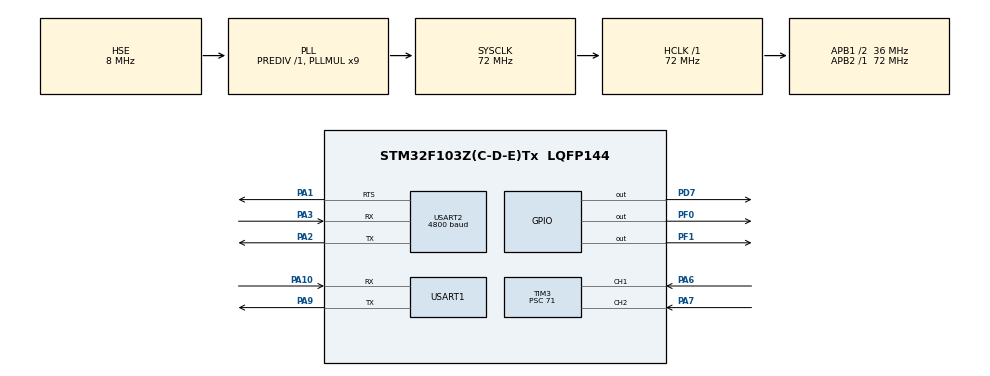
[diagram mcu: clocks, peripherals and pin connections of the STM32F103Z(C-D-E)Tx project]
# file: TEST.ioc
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Mcu.Family=STM32F1
Mcu.Name=STM32F103Z(C-D-E)Tx
Mcu.Package=LQFP144
NVIC.PriorityGroup=NVIC_PRIORITYGROUP_4
NVIC.RCC_IRQn=true\:0\:0\:false\:false\:true\:true\:false
NVIC.TIM3_IRQn=true\:0\:0\:false\:false\:true\:true\:true
NVIC.USART2_IRQn=true\:0\:0\:false\:false\:true\:true\:true
OSC_IN.Mode=HSE-External-Oscillator
OSC_IN.Signal=RCC_OSC_IN
OSC_OUT.Mode=HSE-External-Oscillator
OSC_OUT.Signal=RCC_OSC_OUT
PA1.Mode=RTS_Only
PA1.Signal=USART2_RTS
PA10.Mode=Asynchronous
PA10.Signal=USART1_RX
PA13.Mode=Serial_Wire
PA13.Signal=SYS_JTMS-SWDIO
PA14.Mode=Serial_Wire
PA14.Signal=SYS_JTCK-SWCLK
PA2.Mode=Asynchronous
PA2.Signal=USART2_TX
PA3.Mode=Asynchronous
PA3.Signal=USART2_RX
PA6.GPIO_PuPd=GPIO_NOPULL
PA6.Signal=S_TIM3_CH1
PA7.Signal=S_TIM3_CH2
PA9.Mode=Asynchronous
PA9.Signal=USART1_TX
PD7.Signal=GPIO_Output
PF0.Signal=GPIO_Output
PF1.Signal=GPIO_Output
ProjectManager.HeapSize=0x200
ProjectManager.StackSize=0x400
ProjectManager.TargetToolchain=MDK-ARM V5.27
RCC.AHBFreq_Value=72000000
RCC.APB1CLKDivider=RCC_HCLK_DIV2
RCC.APB1Freq_Value=36000000
RCC.APB1TimFreq_Value=72000000
RCC.APB2Freq_Value=72000000
RCC.APB2TimFreq_Value=72000000
RCC.HCLKFreq_Value=72000000
RCC.PLLMUL=RCC_PLL_MUL9
RCC.PLLSourceVirtual=RCC_PLLSOURCE_HSE
RCC.SYSCLKFreq_VALUE=72000000
RCC.SYSCLKSource=RCC_SYSCLKSOURCE_PLLCLK
RCC.USBFreq_Value=72000000
SH.S_TIM3_CH1.0=TIM3_CH1,Input_Capture1_from_TI1
SH.S_TIM3_CH2.0=TIM3_CH2,Input_Capture2_from_TI2
TIM3.Channel-Input_Capture1_from_TI1=TIM_CHANNEL_1
TIM3.Channel-Input_Capture2_from_TI2=TIM_CHANNEL_2
TIM3.ICFilter_CH1=8
TIM3.Prescaler=71
USART1.VirtualMode=VM_ASYNC
USART2.BaudRate=4800
USART2.VirtualMode=VM_ASYNC
VP_TIM3_VS_ClockSourceINT.Mode=Internal
board=custom

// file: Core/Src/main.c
/* USER CODE BEGIN Header */
/**
  ******************************************************************************
  * @file           : main.c
  * @brief          : Main program body
  ******************************************************************************
  * @attention
  *
  * <h2><center>&copy; Copyright (c) 2021 STMicroelectronics.
  * All rights reserved.</center></h2>
  *
  * This software component is licensed by ST under BSD 3-Clause license,
  * the "License"; You may not use this file except in compliance with the
  * License. You may obtain a copy of the License at:
  *                        opensource.org/licenses/BSD-3-Clause
  *
  ******************************************************************************
  */
/* USER CODE END Header */
#include "main.h"

/* USER CODE BEGIN Includes */
#include "stdio.h"
#include "stdint.h"
#include "stdlib.h"
#include "printfun.h"
#include "delay.h"
#include "sys.h"

/* USER CODE END Includes */

/* USER CODE BEGIN PTD */
// uint16_t a = 0x12;
/* USER CODE END PTD */

TIM_HandleTypeDef htim3;

UART_HandleTypeDef huart1;
UART_HandleTypeDef huart2;

/* USER CODE BEGIN PV */
#define KEY0        HAL_GPIO_ReadPin(GPIOE,GPIO_PIN_4)
// uint8_t aTxBuffer[8];      //"*********串口发送数据××××××××××××\r\n";
uint8_t rs485buf[8] ={0X01,0X03,0X00,0X03,0X00,0X01,0X74,0X0A};
uint8_t rs485buf3[8] ={0X01,0X03,0X00,0X06,0X00,0X01,0X64,0X0B};
uint8_t rs485buf2[8] ={0X01,0X03,0X00,0X00,0X00,0X02,0XC4,0X0B};
uint8_t rs1[7];		// 用来接收串口2发送的数据
uint8_t rs2[9];		// 用来接收串口2发送的数据
uint16_t speed1;
uint16_t wind_direction;
uint16_t infrarot;
uint8_t j;
uint8_t data1[10];
uint8_t selet1 = 2;
uint8_t selet2 = 0;
long long temp=0;
long long temp1=0;
//捕获状态
//[7]:0,没有成功的捕获;1,成功捕获到一次.
//[6]:0,还没捕获到低电平;1,已经捕获到低电平了.
//[5:0]:捕获低电平后溢出的次数
uint8_t  TIM5CH1_CAPTURE_STA=0;							//输入捕获状态
uint16_t	TIM5CH1_CAPTURE_VAL;							//输入捕获值(TIM3是16位)
/* USER CODE END PV */

void SystemClock_Config(void);
static void MX_GPIO_Init(void);
static void MX_USART2_UART_Init(void);
static void MX_USART1_UART_Init(void);
static void MX_TIM3_Init(void);
/* USER CODE BEGIN PFP */
// int fputc(int ch,FILE *f)
// {
//   //  HAL_UART_Transmit(&huart1,(uint8_t *)&ch,1,0xFFFF);
//    HAL_UART_Transmit(&huart1,(uint8_t *)&ch,1,0xFFFF);
//    return ch;
// }

/* USER CODE END PFP */

/* USER CODE BEGIN 0 */
void HAL_Delay(uint32_t Delay){
  delay_ms((uint16_t)Delay);
}
/* USER CODE END 0 */

int main(void)
{

  /* MCU Configuration--------------------------------------------------------*/

  /* Reset of all peripherals, Initializes the Flash interface and the Systick. */
  HAL_Init();

  /* Configure the system clock */
  SystemClock_Config();

  /* USER CODE BEGIN SysInit */
  delay_init();
  /* USER CODE END SysInit */

  /* Initialize all configured peripherals */
  MX_GPIO_Init();
  MX_USART2_UART_Init();
  MX_USART1_UART_Init();
  MX_TIM3_Init();
  /* USER CODE BEGIN 2 */
  HAL_UART_Receive_IT(&huart2,(uint8_t *)&rs1,7);
  // HAL_TIM_Base_Start_IT(&htim3);
  HAL_TIM_IC_Start_IT(&htim3,TIM_CHANNEL_1);   //开启TIM3的捕获通道1，并且开启捕获中断
  // HAL_TIM_IC_Start_IT(&htim3,TIM_CHANNEL_2);   //开启TIM3的捕获通道1，并且开启捕获中断
  __HAL_TIM_ENABLE_IT(&htim3,TIM_IT_UPDATE);   //使能更新中断

  /* USER CODE END 2 */

  /* Infinite loop */
  /* USER CODE BEGIN WHILE */
  // HAL_UART_Receive_IT(&huart2,aRxBuffer2,1);			// Enable the USART2 Interrupt
	// HAL_UART_Transmit(&huart2,aTxBuffer,sizeof(aTxBuffer),100);
  while (1)
  {

    switch (selet2)
    {

  case 0:

   HAL_Delay(300);
    HAL_GPIO_WritePin(GPIOF, GPIO_PIN_0, GPIO_PIN_SET);

    delay_us(10);
    HAL_GPIO_WritePin(GPIOF, GPIO_PIN_0, GPIO_PIN_RESET);

    if(TIM5CH1_CAPTURE_STA&0X80)        //成功捕获到了一次高电平
		{
			temp=TIM5CH1_CAPTURE_STA&0X3F;
			temp*=65536;		 	    	//溢出时间总和
			temp+=TIM5CH1_CAPTURE_VAL;
      temp= (temp*340);
      temp = temp /2;   //得到总的高电平时间
      temp = temp /1000000;   //得到总的高电平时间

			printf("距离为:%lld 米\r\n",temp);//打印总的高点平时间
			TIM5CH1_CAPTURE_STA=0;          //开启下一次捕获
		}
    selet2++;
   HAL_TIM_IC_Stop_IT(&htim3,TIM_CHANNEL_1);
  HAL_TIM_IC_Start_IT(&htim3,TIM_CHANNEL_2);   //开启TIM3的捕获通道1，并且开启捕获中断

      break;
  case 1:

    HAL_GPIO_WritePin(GPIOF, GPIO_PIN_1, GPIO_PIN_SET);

    delay_us(10);
    HAL_GPIO_WritePin(GPIOF, GPIO_PIN_1, GPIO_PIN_RESET);

    if(TIM5CH1_CAPTURE_STA&0X80)        //成功捕获到了一次高电平
		{
			temp=TIM5CH1_CAPTURE_STA&0X3F;
			temp*=65536;		 	    	//溢出时间总和
			temp+=TIM5CH1_CAPTURE_VAL;
      temp= (temp*340);
      temp = temp /2;   //得到总的高电平时间
      // temp1 = temp1 /1000000;   //得到总的高电平时间

			printf("传感器2距离为:%lld 米\r\n",temp);//打印总的高点平时间
			TIM5CH1_CAPTURE_STA=0;          //开启下一次捕获
		}
    selet2 = 0;
   HAL_TIM_IC_Stop_IT(&htim3,TIM_CHANNEL_2);
    HAL_TIM_IC_Start_IT(&htim3,TIM_CHANNEL_1);   //开启TIM3的捕获通道1，并且开启捕获中断

      break;

    default:
      break;
    }

    switch (selet1)
    {
    case 0/* constant-expression */:
      /* code */
    HAL_GPIO_WritePin(GPIOD, GPIO_PIN_7, GPIO_PIN_SET);
    // uint8_t i;
    HAL_Delay(1000);
    HAL_UART_Transmit(&huart2, (uint8_t*)&rs485buf, sizeof(rs485buf), 5000);

     HAL_GPIO_WritePin(GPIOD, GPIO_PIN_7, GPIO_PIN_RESET);

    HAL_Delay(100);
    println("当前风力等级为：%d级\t\n",data1[4]);

    // speed =   (int32_t)rs1[4];
    // printf("%02x\t\n",rs1[4]);
    // printf("%02x\t\n",rs1[3]);

      // printf("%02x\t\n",data1[0]);
			// printf("%02x\t\n",data1[1]);
			// printf("%02x\t\n",data1[2]);
			// printf("%02x\t\n",data1[3]);
			// printf("%02x\t\n",data1[4]);
			// printf("%02x\t\n",data1[5]);
			// println("%02x\t\n",data1[6]);
      selet1 = 0;
      break;
    case 1/* constant-expression */:
      /* code */
      HAL_GPIO_WritePin(GPIOD, GPIO_PIN_7, GPIO_PIN_SET);
    HAL_Delay(1000);
    HAL_UART_Transmit(&huart2, (uint8_t*)&rs485buf2, sizeof(rs485buf2), 5000);

     HAL_GPIO_WritePin(GPIOD, GPIO_PIN_7, GPIO_PIN_RESET);

    HAL_Delay(100);
    speed1 = data1[3]<<8;
    speed1 += data1[4];
    // speed =   (int32_t)rs1[4];
    println("当前风速为: %d.%d m/s",(speed1/100),(speed1%100));
    wind_direction = (wind_direction|data1[5])<<8;
    wind_direction = (wind_direction|data1[6]);
    // wind_direction = (wind_direction);
    if((0 < wind_direction&& wind_direction < 45 ) || (315 < wind_direction&& wind_direction < 359 ) )
    {
    println("当前风向为北风");

    }else if(45 < wind_direction < 135 )
    {
     println("当前风向为东风");

    }else if(135 < wind_direction < 225 )
    {
     println("当前风向为南风");

    }
    else if(225 < wind_direction < 315 )
    {
     println("当前风向为西风");

    }

    // speed =   (int32_t)rs1[4];
    // printf("%02x\t\n",rs1[4]);
    // printf("%02x\t\n",rs1[3]);

      // printf("%02x\t\n",data1[0]);
			// printf("%02x\t\n",data1[1]);
			// printf("%02x\t\n",data1[2]);
			// printf("%02x\t\n",data1[3]);
			// printf("%02x\t\n",data1[4]);
			// printf("%02x\t\n",data1[5]);
			// println("%02x\t\n",data1[6]);
    selet1++;
    break;

    case 2 :
    {
    HAL_GPIO_WritePin(GPIOD, GPIO_PIN_7, GPIO_PIN_SET);
    // uint8_t i;
    HAL_Delay(1000);
    HAL_UART_Transmit(&huart2, (uint8_t*)&rs485buf3, sizeof(rs485buf3), 5000);

     HAL_GPIO_WritePin(GPIOD, GPIO_PIN_7, GPIO_PIN_RESET);

    HAL_Delay(100);

    infrarot = (infrarot|data1[3])<<8;
    infrarot = (infrarot|data1[4]);

   println("当前隧道外亮度为: %d Lux",infrarot);
   infrarot = 0;

  //  println("当前隧道外亮度为: %d.%d Lux",infrarot,(infrarot%10));

    }
      selet1  = 0;
      break;

    default:
      break;
    }

    // HAL_Delay(10);
    // HAL_UART_Transmit(&huart2, (uint8_t*)&rs485buf2, sizeof(rs485buf), 5000);

    // for(i =0;i<7;i++)
    // {
    //   printf("0x%02x\t",rs1[i]);
    // }
    // printf("\r\n");
    /* USER CODE END WHILE */

  }
}

void SystemClock_Config(void)
{
  RCC_OscInitTypeDef RCC_OscInitStruct = {0};
  RCC_ClkInitTypeDef RCC_ClkInitStruct = {0};

  /** Initializes the RCC Oscillators according to the specified parameters
  * in the RCC_OscInitTypeDef structure.
  */
  RCC_OscInitStruct.OscillatorType = RCC_OSCILLATORTYPE_HSE;
  RCC_OscInitStruct.HSEState = RCC_HSE_ON;
  RCC_OscInitStruct.HSEPredivValue = RCC_HSE_PREDIV_DIV1;
  RCC_OscInitStruct.HSIState = RCC_HSI_ON;
  RCC_OscInitStruct.PLL.PLLState = RCC_PLL_ON;
  RCC_OscInitStruct.PLL.PLLSource = RCC_PLLSOURCE_HSE;
  RCC_OscInitStruct.PLL.PLLMUL = RCC_PLL_MUL9;
  if (HAL_RCC_OscConfig(&RCC_OscInitStruct) != HAL_OK)
  {
    Error_Handler();
  }
  /** Initializes the CPU, AHB and APB buses clocks
  */
  RCC_ClkInitStruct.ClockType = RCC_CLOCKTYPE_HCLK|RCC_CLOCKTYPE_SYSCLK
                              |RCC_CLOCKTYPE_PCLK1|RCC_CLOCKTYPE_PCLK2;
  RCC_ClkInitStruct.SYSCLKSource = RCC_SYSCLKSOURCE_PLLCLK;
  RCC_ClkInitStruct.AHBCLKDivider = RCC_SYSCLK_DIV1;
  RCC_ClkInitStruct.APB1CLKDivider = RCC_HCLK_DIV2;
  RCC_ClkInitStruct.APB2CLKDivider = RCC_HCLK_DIV1;

  if (HAL_RCC_ClockConfig(&RCC_ClkInitStruct, FLASH_LATENCY_2) != HAL_OK)
  {
    Error_Handler();
  }
}

static void MX_TIM3_Init(void)
{

  TIM_ClockConfigTypeDef sClockSourceConfig = {0};
  TIM_MasterConfigTypeDef sMasterConfig = {0};
  TIM_IC_InitTypeDef sConfigIC = {0};

  htim3.Instance = TIM3;
  htim3.Init.Prescaler = 71;
  htim3.Init.CounterMode = TIM_COUNTERMODE_UP;
  htim3.Init.Period = 65535;
  htim3.Init.ClockDivision = TIM_CLOCKDIVISION_DIV1;
  htim3.Init.AutoReloadPreload = TIM_AUTORELOAD_PRELOAD_DISABLE;
  if (HAL_TIM_Base_Init(&htim3) != HAL_OK)
  {
    Error_Handler();
  }
  sClockSourceConfig.ClockSource = TIM_CLOCKSOURCE_INTERNAL;
  if (HAL_TIM_ConfigClockSource(&htim3, &sClockSourceConfig) != HAL_OK)
  {
    Error_Handler();
  }
  if (HAL_TIM_IC_Init(&htim3) != HAL_OK)
  {
    Error_Handler();
  }
  sMasterConfig.MasterOutputTrigger = TIM_TRGO_RESET;
  sMasterConfig.MasterSlaveMode = TIM_MASTERSLAVEMODE_DISABLE;
  if (HAL_TIMEx_MasterConfigSynchronization(&htim3, &sMasterConfig) != HAL_OK)
  {
    Error_Handler();
  }
  sConfigIC.ICPolarity = TIM_INPUTCHANNELPOLARITY_RISING;
  sConfigIC.ICSelection = TIM_ICSELECTION_DIRECTTI;
  sConfigIC.ICPrescaler = TIM_ICPSC_DIV1;
  sConfigIC.ICFilter = 8;
  if (HAL_TIM_IC_ConfigChannel(&htim3, &sConfigIC, TIM_CHANNEL_1) != HAL_OK)
  {
    Error_Handler();
  }
  sConfigIC.ICFilter = 0;
  if (HAL_TIM_IC_ConfigChannel(&htim3, &sConfigIC, TIM_CHANNEL_2) != HAL_OK)
  {
    Error_Handler();
  }

}

static void MX_USART1_UART_Init(void)
{

  huart1.Instance = USART1;
  huart1.Init.BaudRate = 115200;
  huart1.Init.WordLength = UART_WORDLENGTH_8B;
  huart1.Init.StopBits = UART_STOPBITS_1;
  huart1.Init.Parity = UART_PARITY_NONE;
  huart1.Init.Mode = UART_MODE_TX_RX;
  huart1.Init.HwFlowCtl = UART_HWCONTROL_NONE;
  huart1.Init.OverSampling = UART_OVERSAMPLING_16;
  if (HAL_UART_Init(&huart1) != HAL_OK)
  {
    Error_Handler();
  }

}

static void MX_USART2_UART_Init(void)
{

  huart2.Instance = USART2;
  huart2.Init.BaudRate = 4800;
  huart2.Init.WordLength = UART_WORDLENGTH_8B;
  huart2.Init.StopBits = UART_STOPBITS_1;
  huart2.Init.Parity = UART_PARITY_NONE;
  huart2.Init.Mode = UART_MODE_TX_RX;
  huart2.Init.HwFlowCtl = UART_HWCONTROL_RTS;
  huart2.Init.OverSampling = UART_OVERSAMPLING_16;
  if (HAL_UART_Init(&huart2) != HAL_OK)
  {
    Error_Handler();
  }

}

static void MX_GPIO_Init(void)
{
  GPIO_InitTypeDef GPIO_InitStruct = {0};

  /* GPIO Ports Clock Enable */
  __HAL_RCC_GPIOF_CLK_ENABLE();
  __HAL_RCC_GPIOA_CLK_ENABLE();
  __HAL_RCC_GPIOD_CLK_ENABLE();

  /*Configure GPIO pin Output Level */
  HAL_GPIO_WritePin(GPIOF, GPIO_PIN_0|GPIO_PIN_1, GPIO_PIN_RESET);

  /*Configure GPIO pin Output Level */
  HAL_GPIO_WritePin(GPIOD, GPIO_PIN_7, GPIO_PIN_RESET);

  /*Configure GPIO pins : PF0 PF1 */
  GPIO_InitStruct.Pin = GPIO_PIN_0|GPIO_PIN_1;
  GPIO_InitStruct.Mode = GPIO_MODE_OUTPUT_PP;
  GPIO_InitStruct.Pull = GPIO_NOPULL;
  GPIO_InitStruct.Speed = GPIO_SPEED_FREQ_LOW;
  HAL_GPIO_Init(GPIOF, &GPIO_InitStruct);

  /*Configure GPIO pin : PD7 */
  GPIO_InitStruct.Pin = GPIO_PIN_7;
  GPIO_InitStruct.Mode = GPIO_MODE_OUTPUT_PP;
  GPIO_InitStruct.Pull = GPIO_NOPULL;
  GPIO_InitStruct.Speed = GPIO_SPEED_FREQ_LOW;
  HAL_GPIO_Init(GPIOD, &GPIO_InitStruct);

}

/* USER CODE BEGIN 4 */
/**
  * @brief  Rx Transfer completed callbacks.
  * @param  huart  Pointer to a UART_HandleTypeDef structure that contains
  *                the configuration information for the specified UART module.
  * @retval None
  */
void HAL_UART_RxCpltCallback(UART_HandleTypeDef *huart)
{
  /* Prevent unused argument(s) compilation warning */
  UNUSED(huart);
  /* NOTE: This function should not be modified, when the callback is needed,
           the HAL_UART_RxCpltCallback could be implemented in the user file
   */

  switch (selet1)
  {
  case  0/* constant-expression */:
    /* code */
    for(j = 0;j<7;j++)
  {
    data1[j]=rs1[j];
  }
    HAL_UART_Receive_IT(&huart2,(uint8_t *)&rs2,9);

    break;
  case  1/* constant-expression */:
   for(j = 0;j<9;j++)
  {
    data1[j]=rs2[j];
  }
    HAL_UART_Receive_IT(&huart2,(uint8_t *)&rs1,7);
    /* code */
    break;
  case 2/* constant-expression */:
    for(j = 0;j<7;j++)
  {
    data1[j]=rs1[j];
  }
    HAL_UART_Receive_IT(&huart2,(uint8_t *)&rs1,7);
    break;

  default:
    break;
  }

  // HAL_UART_Transmit(&huart1,rs1,7,1000);
  //   //HAL_UART_Transmit(&huart1, (uint8_t*)&aRxBuffer2, sizeof(aRxBuffer2), 1000);
	// 	while(__HAL_UART_GET_FLAG(&huart1,UART_FLAG_TC)!=SET);		//等待发送结束

}
//定时器更新中断（计数溢出）中断处理回调函数， 该函数在HAL_TIM_IRQHandler中会被调用
void HAL_TIM_PeriodElapsedCallback(TIM_HandleTypeDef *htim)//更新中断（溢出）发生时执行
{
	if((TIM5CH1_CAPTURE_STA&0X80)==0)				//还未成功捕获
	{
		if(TIM5CH1_CAPTURE_STA&0X40)				//已经捕获到高电平了
		{
			if((TIM5CH1_CAPTURE_STA&0X3F)==0X3F)	//高电平太长了
			{
				TIM5CH1_CAPTURE_STA|=0X80;			//标记成功捕获了一次
				TIM5CH1_CAPTURE_VAL=0XFFFF;
			}else TIM5CH1_CAPTURE_STA++;
		}
	}

}

//定时器输入捕获中断处理回调函数，该函数在HAL_TIM_IRQHandler中会被调用
void HAL_TIM_IC_CaptureCallback(TIM_HandleTypeDef *htim)//捕获中断发生时执行
{
	if((TIM5CH1_CAPTURE_STA&0X80)==0)				//还未成功捕获
	{
		if(TIM5CH1_CAPTURE_STA&0X40)				//捕获到一个下降沿
		{
			TIM5CH1_CAPTURE_STA|=0X80;				//标记成功捕获到一次高电平脉宽
            TIM5CH1_CAPTURE_VAL=HAL_TIM_ReadCapturedValue(&htim3,TIM_CHANNEL_1);//获取当前的捕获值.
			TIM_RESET_CAPTUREPOLARITY(&htim3,TIM_CHANNEL_1);   //一定要先清除原来的设置！！
            TIM_SET_CAPTUREPOLARITY(&htim3,TIM_CHANNEL_1,TIM_ICPOLARITY_RISING);//配置TIM3通道1上升沿捕获

		}else  										//还未开始,第一次捕获上升沿
		{
			TIM5CH1_CAPTURE_STA=0;					//清空
			TIM5CH1_CAPTURE_VAL=0;
			TIM5CH1_CAPTURE_STA|=0X40;				//标记捕获到了上升沿
			__HAL_TIM_DISABLE(&htim3);      	//关闭定时器3
			__HAL_TIM_SET_COUNTER(&htim3,0);
			TIM_RESET_CAPTUREPOLARITY(&htim3,TIM_CHANNEL_1);   //一定要先清除原来的设置！！
			TIM_SET_CAPTUREPOLARITY(&htim3,TIM_CHANNEL_1,TIM_ICPOLARITY_FALLING);//定时器3通道1设置为下降沿捕获
			__HAL_TIM_ENABLE(&htim3);		//使能定时器3

		}
	}

}

/* USER CODE END 4 */

void Error_Handler(void)
{
  __disable_irq();
  while (1)
  {
  }
}

/************************ (C) COPYRIGHT STMicroelectronics *****END OF FILE****/
